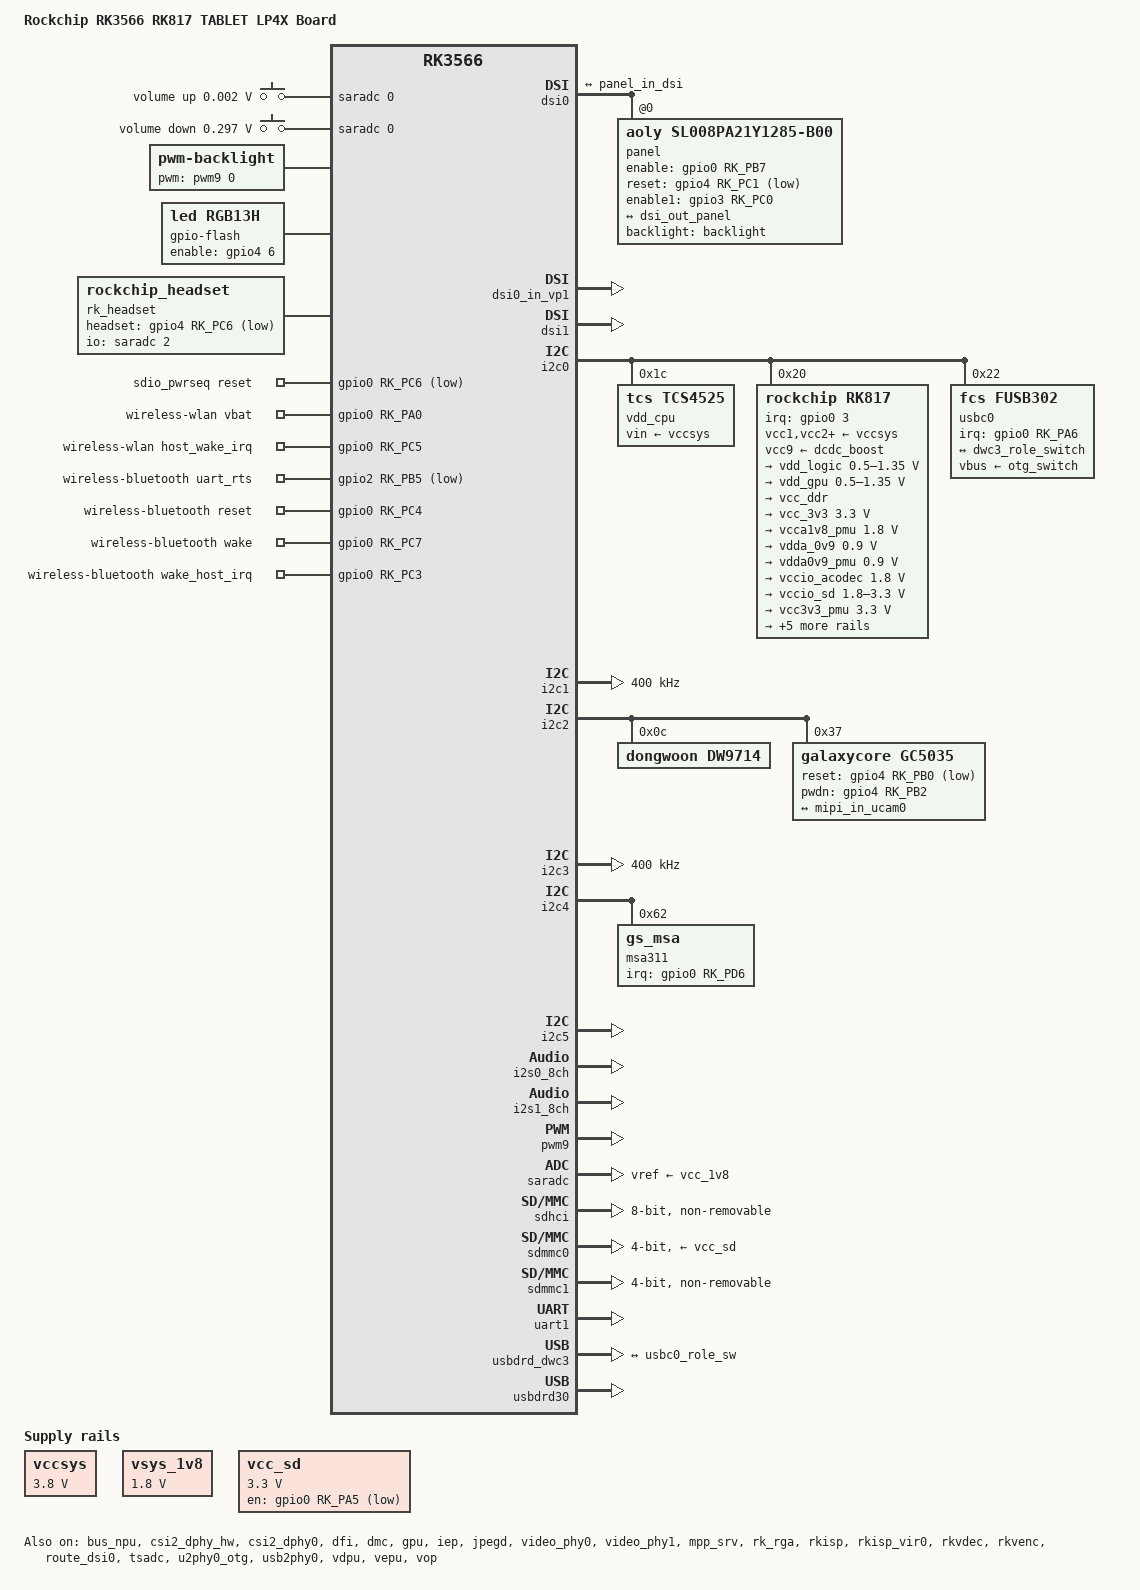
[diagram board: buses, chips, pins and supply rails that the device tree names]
// SPDX-License-Identifier: (GPL-2.0+ OR MIT)
/*
 * Copyright (c) 2020 Rockchip Electronics Co., Ltd.
 *
 */

/dts-v1/;

#include <dt-bindings/gpio/gpio.h>
#include <dt-bindings/pinctrl/rockchip.h>
#include <dt-bindings/input/rk-input.h>
#include <dt-bindings/sensor-dev.h>
#include <dt-bindings/display/drm_mipi_dsi.h>
#include <dt-bindings/usb/pd.h>
#include "rk3566.dtsi"
#include "rk3568-android.dtsi"

/ {
	model = "Rockchip RK3566 RK817 TABLET LP4X Board";
	compatible = "rockchip,rk3566-rk817-tablet", "rockchip,rk3566";

	adc_keys: adc-keys {
		compatible = "adc-keys";
		io-channels = <&saradc 0>;
		io-channel-names = "buttons";
		keyup-threshold-microvolt = <1800000>;
		poll-interval = <100>;

		vol-up-key {
			label = "volume up";
			linux,code = <KEY_VOLUMEUP>;
			press-threshold-microvolt = <1750>;
		};

		vol-down-key {
			label = "volume down";
			linux,code = <KEY_VOLUMEDOWN>;
			press-threshold-microvolt = <297500>;
		};
	};

	backlight: backlight {
	    status = "okay"; 
		compatible = "pwm-backlight";
		pwms = <&pwm9 0 25000 0>;
		brightness-levels = <
			  0  20  20  21  21  22  22  23
			 23  24  24  25  25  26  26  27
			 27  28  28  29  29  30  30  31
			 31  32  32  33  33  34  34  35
			 35  36  36  37  37  38  38  39
			 40  41  42  43  44  45  46  47
			 48  49  50  50  51  52  53  54
			 55  55  56  57  58  59  60  61
			 62  63  64  64  65  65  66  67
			 68  69  70  71  71  72  73  74
			 75  76  77  78  79  79  80  81
			 82  83  84  85  86  86  87  88
			 89  90  91  92  93  94  94  95
			 96  97  98  99 100 101 101 102
			103 104 105 106 107 107 108 109
			110 111 112 113 114 115 115 116
			117 118 119 120 121 122 123 123
			124 125 126 127 128 129 130 130
			131 132 133 134 135 136 136 137
			138 139 140 141 142 143 143 144
			145 146 147 147 148 149 150 151
			152 153 154 155 156 156 157 158
			159 157 158 159 160 161 162 162
			163 164 165 166 167 168 169 169
			170 171 172 173 174 175 175 176
			177 178 179 180 181 182 182 183
			184 185 186 187 188 189 190 190
			191 192 193 194 195 196 197 197
			198 199 200 201 202 203 204 204
			205 206 207 208 209 209 210 211
			212 213 213 214 214 215 215 216
			216 217 217 218 218 219 219 220
		>;
		default-brightness-level = <200>;
	};
	charge-animation {
		compatible = "rockchip,uboot-charge";
		rockchip,uboot-charge-on = <0>;
		rockchip,android-charge-on = <1>;
		rockchip,uboot-exit-charge-auto = <1>;
		rockchip,uboot-low-power-voltage = <3430>;
		rockchip,uboot-exit-charge-level = <2>;
		status = "okay";
		};

	flash_rgb13h: flash-rgb13h {
		status = "okay";
		compatible = "led,rgb13h";
		label = "gpio-flash";
		pinctrl-names = "default";
		pinctrl-0 = <&flash_led_gpios>;
		led-max-microamp = <20000>;
		flash-max-microamp = <20000>;
		flash-max-timeout-us = <1000000>;
		enable-gpio = <&gpio4 6 GPIO_ACTIVE_HIGH>;
		rockchip,camera-module-index = <0>;
		rockchip,camera-module-facing = "back";
	};

	hdmi_sound: hdmi-sound {
		compatible = "simple-audio-card";
		simple-audio-card,format = "i2s";
		simple-audio-card,mclk-fs = <128>;
		simple-audio-card,name = "rockchip,hdmi";
		status = "disabled";

		simple-audio-card,cpu {
				sound-dai = <&i2s0_8ch>;
		};
		simple-audio-card,codec {
				sound-dai = <&hdmi>;
		};
	};

	vccsys: vccsys {
		compatible = "regulator-fixed";
		regulator-name = "vcc3v8_sys";
		regulator-always-on;
		regulator-boot-on;
		regulator-min-microvolt = <3800000>;
		regulator-max-microvolt = <3800000>;
	};
	
	vsys_1v8: vsys_1v8 {
		compatible = "regulator-fixed";
		regulator-name = "vcc3v8_sys";
		regulator-always-on;
		regulator-boot-on;
		regulator-min-microvolt = <1800000>;
		regulator-max-microvolt = <1800000>;
	};

	// vcc_camera: vcc-camera-regulator {
	// 	compatible = "regulator-fixed";
	// 	gpio = <&gpio4 RK_PB1 GPIO_ACTIVE_HIGH>;
	// 	pinctrl-names = "default";
	// 	pinctrl-0 = <&camera_rst>;
	// 	regulator-name = "vcc_camera";
	// 	enable-active-high;
	// 	regulator-always-on;
	// 	regulator-boot-on;
	// 	status = "disabled";
	// };

	rk817-sound {
		compatible = "simple-audio-card";
		simple-audio-card,format = "i2s";
		simple-audio-card,name = "rockchip,rk817-codec";
		simple-audio-card,mclk-fs = <256>;

		simple-audio-card,cpu {
			sound-dai = <&i2s1_8ch>;
		};
		simple-audio-card,codec {
			sound-dai = <&rk817_codec>;
		};
	};

	rk_headset: rk-headset {
		compatible = "rockchip_headset";
		headset_gpio = <&gpio4 RK_PC6 GPIO_ACTIVE_LOW>;
		pinctrl-names = "default";
		pinctrl-0 = <&hp_det>;
		io-channels = <&saradc 2>;
		status = "okay";
	};

	sdio_pwrseq: sdio-pwrseq {
		compatible = "mmc-pwrseq-simple";
		clocks = <&rk817 1>;
		clock-names = "ext_clock";
		pinctrl-names = "default";
		pinctrl-0 = <&wifi_enable_h>;

		/*
		 * On the module itself this is one of these (depending
		 * on the actual card populated):
		 * - SDIO_RESET_L_WL_REG_ON
		 * - PDN (power down when low)
		 */
		post-power-on-delay-ms = <200>;
		reset-gpios = <&gpio0 RK_PC6 GPIO_ACTIVE_LOW>;
	};

	vcc_sd: vcc-sd {
		compatible = "regulator-gpio";
		enable-active-low;
		enable-gpio = <&gpio0 RK_PA5 GPIO_ACTIVE_LOW>;
		regulator-min-microvolt = <3300000>;
		regulator-max-microvolt = <3300000>;
		pinctrl-names = "default";
		pinctrl-0 = <&vcc_sd_h>;
		regulator-name = "vcc_sd";
		states = <3300000 0x0
			3300000 0x1>;
	};

	wireless-wlan {
		compatible = "wlan-platdata";
		rockchip,grf = <&grf>;
		wifi_chip_type = "ap6256";
		pinctrl-names = "default";
		pinctrl-0 = <&wifi_host_wake_irq>;

		WIFI,vbat_gpio = <&gpio0 RK_PA0 GPIO_ACTIVE_HIGH>;
		WIFI,host_wake_irq = <&gpio0 RK_PC5 GPIO_ACTIVE_HIGH>;
		// WIFI,poweren_gpio = <&gpio0 RK_PC6 GPIO_ACTIVE_HIGH>;
		//sdio_vref = <1800>;
		status = "okay";
	};

	wireless-bluetooth {
		compatible = "bluetooth-platdata";
		clocks = <&rk817 1>;
		clock-names = "ext_clock";
		wifi-bt-power-toggle;
		uart_rts_gpios = <&gpio2 RK_PB5 GPIO_ACTIVE_LOW>;
		pinctrl-names = "default", "rts_gpio";
		pinctrl-0 = <&uart1m0_rtsn>;
		pinctrl-1 = <&uart1_gpios>;
		BT,reset_gpio    = <&gpio0 RK_PC4 GPIO_ACTIVE_HIGH>;
		BT,wake_gpio     = <&gpio0 RK_PC7 GPIO_ACTIVE_HIGH>;
		BT,wake_host_irq = <&gpio0 RK_PC3 GPIO_ACTIVE_HIGH>;
		status = "okay";
	};
};

&bus_npu {
	bus-supply = <&vdd_logic>;
	pvtm-supply = <&vdd_cpu>;
	status = "okay";
};

&cpu0 {
	cpu-supply = <&vdd_cpu>;
};

&csi2_dphy_hw {
	status = "okay";
};

&csi2_dphy0 {
	status = "okay";

	ports {
		#address-cells = <1>;
		#size-cells = <0>;
		port@0 {
			reg = <0>;
			#address-cells = <1>;
			#size-cells = <0>;

			mipi_in_ucam0: endpoint@0 {
				reg = <0>;
				remote-endpoint = <&gc5035_out>;
				data-lanes = <1 2>;
			};


			// mipi_in_ucam1: endpoint@1 {
			// 	reg = <1>;
			// 	remote-endpoint = <&ov8858_out>;
			// 	data-lanes = <1 2 3 4>;
			// };
		};
		port@1 {
			reg = <1>;
			#address-cells = <1>;
			#size-cells = <0>;

			csidphy0_out: endpoint@0 {
				reg = <0>;
				remote-endpoint = <&isp0_in>;
			};
		};
	};
};

&dfi {
	status = "okay";
};

&dmc {
	center-supply = <&vdd_logic>;
	status = "okay";
};

&dsi0 {
		status = "okay";
		rockchip,dual-channel = <&dsi1>;
		// rockchip,lane-rate = <1100>;
	panel@0 {
		compatible = "aoly,sl008pa21y1285-b00", "simple-panel-dsi";
		reg = <0>;

		backlight = <&backlight>;
		
		enable-gpios = <&gpio0 RK_PB7 GPIO_ACTIVE_HIGH>;
		reset-gpios = <&gpio4 RK_PC1 GPIO_ACTIVE_LOW>;
		enable1-gpios = <&gpio3 RK_PC0 GPIO_ACTIVE_HIGH>;

		pinctrl-names = "default";
		pinctrl-0 = <&lcd_enable_gpio>, <&lcd_rst_gpio>,<&lcd_enable1_gpio>;


		prepare-delay-ms = <120>;
		reset-delay-ms = <120>;
		init-delay-ms = <120>;
		stbyb-delay-ms = <120>;
		enable-delay-ms = <120>;
		disable-delay-ms = <120>;
		unprepare-delay-ms = <120>;



		dsi,flags = <(MIPI_DSI_MODE_VIDEO | MIPI_DSI_MODE_VIDEO_BURST |
			      MIPI_DSI_MODE_LPM | MIPI_DSI_MODE_EOT_PACKET)>;
		dsi,format = <MIPI_DSI_FMT_RGB888>;
		dsi,lanes = <8>;
		

		panel-init-sequence = [
			39 00 04 B9 83 10 2E
			39 00 02 E9 CD
			39 00 02 BB 01
			39 00 02 E9 00
			39 00 05 D1 67 0C FF 05
			39 00 12 B1 10 FA AF AF 1D 1D B1 6B 31 36 36 36 36 22 21 15 00
			39 00 11 B2 00 00 68 00 00 1A 14 2D 00 00 00 00 15 20 D7 00
			39 00 11 B4 6A 70 6A 70 6A 70 6A 70 01 A8 01 58 00 FF 00 FF
			39 00 03 D2 1D 1D
			39 00 04 B6 38 38 E3
			39 00 08 BF FC 85 80 9C 36 00 04
			39 00 2C D3 00 00 00 00 3C E8 00 00 00 37 37 33 0F 1A 1A 04 00 32 10 18 00 18 32 18 1C 08 1C 32 10 08 00 00 00 00 2B 50 B6 C8 2C 4F B6 C8 0F
			39 00 02 BD 01
			39 00 0B CB 80 36 12 16 C0 28 54 84 02 34
			39 00 0C D3 01 00 FC 00 00 11 10 00 0A 00 01
			39 00 02 BD 02
			39 00 07 B4 4E 00 33 11 33 88
			39 00 04 BF F2 00 02
			39 00 02 BD 00
			39 00 0F C0 33 33 22 11 A2 17 00 80 00 00 08 00 63 63
			39 00 2D D5 18 18 18 18 18 18 18 18 18 18 19 19 18 18 1A 1A 1B 1B 00 01 02 03 04 05 06 07 20 21 24 25 18 18 18 18 18 18 18 18 18 18 18 18 18 18
			39 00 2D D6 18 18 18 18 18 18 18 18 18 18 18 18 19 19 1A 1A 1B 1B 07 06 05 04 03 02 01 00 25 24 21 20 18 18 18 18 18 18 18 18 18 18 18 18 18 18
			39 00 04 D0 07 04 05
			39 19 2F E0 00 08 26 1E 26 45 5F 65 6A 64 79 7A 7B 7B 85 81 86 90 85 35 3A 41 73 00 08 26 1E 26 45 5F 65 6A 64 79 7A 7B 7B 85 81 86 90 85 35 3A 41 73
			39 00 18 E7 12 13 02 02 55 00 0E 0E 00 26 29 72 1C 72 01 27 00 00 00 00 17 00 68
			39 00 02 BD 01
			39 00 08 E7 00 30 01 94 0D B5 0E
			39 00 02 BD 02
			39 00 1D E7 FF 01 FD 01 00 00 22 00 00 00 00 00 00 00 00 00 00 00 00 00 00 00 00 00 81 00 02 40
			39 00 02 BD 00
			39 00 0D D8 AA BB AA AA AA A0 AA BB AA AA AA A0
			39 00 02 BD 02
			39 00 0D D8 FF FC 3F FF FF F0 FF FC 3F FF FF F0
			39 00 02 BD 00
			39 00 02 CC 00 
			39 00 09 BA 70 03 A8 83 F2 80 C0 0D
			39 19 02 BD 03
			39 19 0E B2 00 0A 21 43 65 87 DD DC FE FF 7F 00 7F
			39 19 02 BD 00
			39 19 09 C8 00 04 04 00 00 02 13 FF
			39 19 02 BD 00
			39 19 06 CB 00 13 08 02 25
			39 19 02 BD 02
			39 19 06 CB 00 03 00 01 7E
			39 19 02 BD 00
			39 19 02 BD 00
			39 19 08 C7 30 B0 C2 08 10 42 04
			39 19 03 E1 00 03
			39 FF 02 E9 CE
			39 FF 02 BB 80
			39 FF 02 E9 00
			39 19 04 B9 00 00 00
			05 FF 01 11
			05 78 01 29
		];


		panel-exit-sequence = [
			05 dc 01 28
			05 78 01 10
		];

		display-timings {
			native-mode = <&timing0>;

			timing0: timing0 {
				clock-frequency = <200000000>;//204234240
				hactive = <1536>;             
				vactive = <2048>;

				hsync-len = <16>;//8x2
				hback-porch = <32>;//16x2
				hfront-porch = <40>;//20x2

				vsync-len = <8>;
				vback-porch = <20>;
				vfront-porch = <20>;

				hsync-active = <0>;
				vsync-active = <0>;
				de-active = <0>;
				pixelclk-active = <0>;
			};
		};

		ports {
			#address-cells = <1>;
			#size-cells = <0>;

			port@0 {
				reg = <0>;
				panel_in_dsi: endpoint {
					remote-endpoint = <&dsi_out_panel>;
				};
			};
		};
	};

	ports {
		#address-cells = <1>;
		#size-cells = <0>;

		port@1 {
			reg = <1>;
			dsi_out_panel: endpoint {
				remote-endpoint = <&panel_in_dsi>;
			};
		};
	};

};

&dsi0_in_vp0 {
	status = "disabled";
};

&dsi0_in_vp1 {
	status = "okay";
};


&route_dsi1 {
	status = "disabled";
};



&dsi1 {
	status = "okay";
};

&dsi1_in_vp0 {
	status = "disabled";
};

&dsi1_in_vp1 {
	status = "disabled";
};

&gpu {
	mali-supply = <&vdd_gpu>;
	status = "okay";
};

&hdmi {
	status = "disabled";
};

&hdmi_in_vp0 {
	status = "disabled";
};

&hdmi_in_vp1 {
	status = "disabled";
};

&hdmi_sound {
	status = "disabled";
};

&i2c0 {
	status = "okay";

	vdd_cpu: tcs4525@1c {
		compatible = "tcs,tcs4525";
		reg = <0x1c>;
		vin-supply = <&vccsys>;
		regulator-compatible = "fan53555-reg";
		regulator-name = "vdd_cpu";
		regulator-min-microvolt = <712500>;
		regulator-max-microvolt = <1390000>;
		regulator-init-microvolt = <900000>;
		regulator-ramp-delay = <2300>;
		fcs,suspend-voltage-selector = <1>;
		regulator-boot-on;
		regulator-always-on;
		regulator-state-mem {
			regulator-off-in-suspend;
		};
	};

	rk817: pmic@20 {
		compatible = "rockchip,rk817";
		reg = <0x20>;
		interrupt-parent = <&gpio0>;
		interrupts = <3 IRQ_TYPE_LEVEL_LOW>;
		pinctrl-names = "default";/*, "pmic-sleep",
				"pmic-power-off", "pmic-reset";*/
		pinctrl-0 = <&pmic_int>;
		pinctrl-1 = <&soc_slppin_slp>, <&rk817_slppin_slp>;
		pinctrl-2 = <&soc_slppin_gpio>, <&rk817_slppin_pwrdn>;
		pinctrl-3 = <&soc_slppin_gpio>, <&rk817_slppin_rst>;
		rockchip,system-power-controller;
		wakeup-source;
		#clock-cells = <1>;
		clock-output-names = "rk808-clkout1", "rk808-clkout2";
		//fb-inner-reg-idxs = <2>;
		/* 1: rst regs (default in codes), 0: rst the pmic */
		pmic-reset-func = <1>;
		/* not save the PMIC_POWER_EN register in uboot */
		not-save-power-en = <1>;
		vcc1-supply = <&vccsys>;
		vcc2-supply = <&vccsys>;
		vcc3-supply = <&vccsys>;
		vcc4-supply = <&vccsys>;
		vcc5-supply = <&vccsys>;
		vcc6-supply = <&vccsys>;
		vcc7-supply = <&vccsys>;
		vcc8-supply = <&vccsys>;
		vcc9-supply = <&dcdc_boost>;

		pwrkey {
			status = "okay";
		};

		pinctrl_rk8xx: pinctrl_rk8xx {
			gpio-controller;
			#gpio-cells = <2>;

			rk817_slppin_null: rk817_slppin_null {
				pins = "gpio_slp";
				function = "pin_fun0";
			};

			rk817_slppin_slp: rk817_slppin_slp {
				pins = "gpio_slp";
				function = "pin_fun1";
			};

			rk817_slppin_pwrdn: rk817_slppin_pwrdn {
				pins = "gpio_slp";
				function = "pin_fun2";
			};

			rk817_slppin_rst: rk817_slppin_rst {
				pins = "gpio_slp";
				function = "pin_fun3";
			};
		};

		regulators {
			vdd_logic: DCDC_REG1 {
				regulator-always-on;
				regulator-boot-on;
				regulator-min-microvolt = <500000>;
				regulator-max-microvolt = <1350000>;
				regulator-init-microvolt = <900000>;
				regulator-ramp-delay = <6001>;
				regulator-initial-mode = <0x2>;
				regulator-name = "vdd_logic";
				regulator-state-mem {
					regulator-off-in-suspend;
					regulator-suspend-microvolt = <900000>;
				};
			};

			vdd_gpu: DCDC_REG2 {
				regulator-always-on;
				regulator-boot-on;
				regulator-min-microvolt = <500000>;
				regulator-max-microvolt = <1350000>;
				regulator-init-microvolt = <900000>;
				regulator-ramp-delay = <6001>;
				regulator-initial-mode = <0x2>;
				regulator-name = "vdd_gpu";
				regulator-state-mem {
					regulator-off-in-suspend;
				};
			};

			vcc_ddr: DCDC_REG3 {
				regulator-always-on;
				regulator-boot-on;
				regulator-initial-mode = <0x2>;
				regulator-name = "vcc_ddr";
				regulator-state-mem {
					regulator-on-in-suspend;
				};
			};

			vcc_3v3: DCDC_REG4 {
				regulator-always-on;
				regulator-boot-on;
				regulator-min-microvolt = <3300000>;
				regulator-max-microvolt = <3300000>;
				regulator-initial-mode = <0x2>;
				regulator-name = "vcc_3v3";
				regulator-state-mem {
					regulator-on-in-suspend;
					regulator-suspend-microvolt = <3300000>;
				};
			};

			vcca1v8_pmu: LDO_REG1 {
				regulator-always-on;
				regulator-boot-on;
				regulator-min-microvolt = <1800000>;
				regulator-max-microvolt = <1800000>;
				regulator-name = "vcca1v8_pmu";
				regulator-state-mem {
					regulator-on-in-suspend;
					regulator-suspend-microvolt = <1800000>;
				};
			};

			vdda_0v9: LDO_REG2 {
				regulator-always-on;
				regulator-boot-on;
				regulator-min-microvolt = <900000>;
				regulator-max-microvolt = <900000>;
				regulator-name = "vdda_0v9";
				regulator-state-mem {
					regulator-off-in-suspend;
				};
			};

			vdda0v9_pmu: LDO_REG3 {
				regulator-always-on;
				regulator-boot-on;
				regulator-min-microvolt = <900000>;
				regulator-max-microvolt = <900000>;
				regulator-name = "vdda0v9_pmu";
				regulator-state-mem {
					regulator-on-in-suspend;
					regulator-suspend-microvolt = <900000>;
				};
			};

			vccio_acodec: LDO_REG4 {
				regulator-always-on;
				regulator-boot-on;
				regulator-min-microvolt = <1800000>;
				regulator-max-microvolt = <1800000>;
				regulator-name = "vccio_acodec";
				regulator-state-mem {
					regulator-off-in-suspend;
				};
			};

			vccio_sd: LDO_REG5 {
				regulator-always-on;
				regulator-boot-on;
				regulator-min-microvolt = <1800000>;
				regulator-max-microvolt = <3300000>;
				regulator-name = "vccio_sd";
				regulator-state-mem {
					regulator-off-in-suspend;
				};
			};

			vcc3v3_pmu: LDO_REG6 {
				regulator-always-on;
				regulator-boot-on;
				regulator-min-microvolt = <3300000>;
				regulator-max-microvolt = <3300000>;
				regulator-name = "vcc3v3_pmu";
				regulator-state-mem {
					regulator-on-in-suspend;
					regulator-suspend-microvolt = <3000000>;
				};
			};

			vcc_1v8: LDO_REG7 {
				regulator-always-on;
				regulator-boot-on;
				regulator-min-microvolt = <1800000>;
				regulator-max-microvolt = <1800000>;
				regulator-name = "vcc_1v8";
				regulator-state-mem {
					regulator-off-in-suspend;
				};
			};

			vcc1v8_dvp: LDO_REG8 {
				regulator-always-on;
				regulator-boot-on;
				regulator-min-microvolt = <1800000>;
				regulator-max-microvolt = <1800000>;
				regulator-name = "vcc1v8_dvp";
				regulator-state-mem {
					regulator-off-in-suspend;
				};
			};

			vcc2v8_dvp: LDO_REG9 {
				regulator-always-on;
				regulator-boot-on;
				regulator-min-microvolt = <2800000>;
				regulator-max-microvolt = <2800000>;
				regulator-name = "vcc2v8_dvp";
				regulator-state-mem {
					regulator-off-in-suspend;
				};
			};

			dcdc_boost: BOOST {
				regulator-always-on;
				regulator-boot-on;
				regulator-min-microvolt = <5000000>;
				regulator-max-microvolt = <5000000>;
				regulator-name = "boost";
				regulator-state-mem {
					regulator-off-in-suspend;
				};
			};

			otg_switch: OTG_SWITCH {
				regulator-name = "otg_switch";
				regulator-state-mem {
					regulator-off-in-suspend;
				};
			};
		};

		battery {
                        compatible = "rk817,battery";
                        ocv_table = <3400 3658 3677 3702 3729 3748 3763
                                     3777 3792 3810 3834 3869 3914 3955
                                     3988 4052 4093 4145 4199 4257 4327>;
                        design_capacity = <2200>;
                        design_qmax = <2420>;
                        bat_res = <118>;
                        sleep_enter_current = <300>;
                        sleep_exit_current = <300>;
                        sleep_filter_current = <100>;
                        power_off_thresd = <3400>;
                        zero_algorithm_vol = <3950>;
                        max_soc_offset = <60>;
                        monitor_sec = <5>;
                        sample_res = <10>;
                        virtual_power = <0>;
						ntc_table = <68236 64990 61919 59011 56257 53649 51177 48834 46613 44505 42506 40599 38790 37072 35441 33892 32419 31020 29689 
									 28423 27218 26076 24987 23950 22962 22021 21123 20266 19449 18669 17925 17213 16534 15885 15265 14673 14107 13566 
									 13048 12554 12080 11628 11194 10779 10381 10000  9634  9283  8947 8624  8314  8018  7733  7460  7199  6947  6706 
									  6475  6252  6039  5833  5635  5445  5262  5086  4916  4753  4597  4446  4300  4160  4026  3896  3771  3651  3535 
									  3423  3315  3211  3111  3014	2922 2833	2748  2665  2586  2509  2435  2363  2294  2227
									 >;
						ntc_degree_from = <1 20>;
						temperature_chrg_table_v2 = <(-20) 10 850 4300>, <22 33 1000 4300>, <43 70 0 0>; 
                };


		charger {
			compatible = "rk817,charger";
			min_input_voltage = <4500>;
			max_input_current = <1500>;
			max_chrg_current = <2000>;
			max_chrg_voltage = <4400>;
			chrg_term_mode = <0>;
			chrg_finish_cur = <300>;
			virtual_power = <0>;
			dc_det_adc = <0>;
			extcon = <&usb2phy0>;
			gate_function_disable = <1>;
		};

		rk817_codec: codec {
			#sound-dai-cells = <0>;
			compatible = "rockchip,rk817-codec";
			clocks = <&cru I2S1_MCLKOUT>;
			clock-names = "mclk";
			assigned-clocks = <&cru I2S1_MCLKOUT>, <&cru I2S1_MCLK_TX_IOE>;
			assigned-clock-rates = <12288000>;
			assigned-clock-parents = <&cru I2S1_MCLKOUT_TX>, <&cru I2S1_MCLKOUT_TX>;
			pinctrl-names = "default";
			pinctrl-0 = <&i2s1m0_mclk>;
			hp-volume = <20>;
			spk-volume = <10>;
			mic-in-differential;
			out-l2spk-r2hp;
			//spk-ctl-gpios = <&gpio3 RK_PC2 GPIO_ACTIVE_HIGH>;
			status = "okay";
		};
	};
	
	usbc0: fusb302@22 {
        compatible = "fcs,fusb302";
        reg = <0x22>;
        interrupt-parent = <&gpio0>; 
        interrupts = <RK_PA6 IRQ_TYPE_LEVEL_LOW>;
        pinctrl-names = "default";
        pinctrl-0 = <&fusb0_int>;
        vbus-supply = <&otg_switch>;
        status = "okay";
        ports {
            #address-cells = <1>;
            #size-cells = <0>;
            port@0 {
                reg = <0>;
                usbc0_role_sw: endpoint@0 {
                    remote-endpoint = <&dwc3_role_switch>;
                };
            };
        };

		usb_con: connector { /* 用于描述 PD 协议相关信息 */
			compatible = "usb-c-connector";
			label = "USB-C";
			data-role = "dual";
			power-role = "dual";
			try-power-role = "sink";
			op-sink-microwatt = <1000000>;
			sink-pdos =
				<PDO_FIXED(5000, 2500, PDO_FIXED_USB_COMM)>;
			source-pdos =
				<PDO_FIXED(5000, 1500, PDO_FIXED_USB_COMM)>;

		};
    };

};

&i2c1 {
		status = "okay";

		clock-frequency = <400000>;
		// 1020 new
	    elan@10 {
			compatible = "elan,ekth3500";
			status = "disabled";
			reg = <0x10>;
			//interrupt-parent = <&tlmm>;
			//interrupts = <125 0x2008>;
			pinctrl-names = "default";
			pinctrl-0 = <&tp_gpio>;
			elan,irq-gpio = <&gpio0 RK_PC1 IRQ_TYPE_LEVEL_LOW>;
			elan,reset-gpio = <&gpio0 RK_PC2 GPIO_ACTIVE_LOW>; //0x00: ACTIVE_HIGH 0x01: ACTIVE_LOW
		};

};

&i2c2 {
	status = "okay";
	pinctrl-names = "default";
	pinctrl-0 = <&i2c2m1_xfer>;


		dw9714: dw9714@c {
		compatible = "dongwoon,dw9714";
		status = "okay";
		reg = <0x0c>;
		rockchip,camera-module-index = <0>;
		rockchip,vcm-start-current = <10>;
		rockchip,vcm-rated-current = <85>;
		rockchip,vcm-step-mode = <5>;
		rockchip,camera-module-facing = "back";
	};

		gc5035: gc5035@37 {
		compatible = "galaxycore,gc5035";
		status = "okay";
		reg = <0x37>;
		clocks = <&cru CLK_CIF_OUT>;
		clock-names = "xvclk";
		power-domains = <&power RK3568_PD_VI>;
		pinctrl-names = "default";
		pinctrl-0 = <&cif_clk>;
		//reset pin control by hardware,used this pin switch to mipi input
		//0->FRONT camera, 1->REAR camera
		reset-gpios = <&gpio4 RK_PB0 GPIO_ACTIVE_LOW>;
		pwdn-gpios = <&gpio4 RK_PB2 GPIO_ACTIVE_HIGH>;
		rockchip,camera-module-index = <0>;
		rockchip,camera-module-facing = "front";
		rockchip,camera-module-name = "XHG-RKX11F-V5";
		rockchip,camera-module-lens-name = "HR232H65";
		port {
			gc5035_out: endpoint {
				remote-endpoint = <&mipi_in_ucam0>;
				data-lanes = <1 2>;
			};
		};
	};

	// ov8858: ov8858@36 {
	// 	status = "disabled";
	// 	compatible = "ovti,ov8858";
	// 	reg = <0x36>;
	// 	clocks = <&cru CLK_CAM0_OUT>;
	// 	clock-names = "xvclk";
	// 	power-domains = <&power RK3568_PD_VI>;
	// 	pinctrl-names = "rockchip,camera_default", "rockchip,camera_sleep";
	// 	pinctrl-0 = <&cam_clkout0>;
	// 	pinctrl-1 = <&cam_sleep>;
	// 	//reset pin control by hardware,used this pin switch to mipi input
	// 	//1->2LANE(LANE 0&1) FRONT camera, 0->4LANE REAR camera
	// 	reset-gpios = <&gpio4 RK_PB1 GPIO_ACTIVE_HIGH>;
	// 	pwdn-gpios = <&gpio4 RK_PB3 GPIO_ACTIVE_HIGH>;
	// 	rockchip,camera-module-index = <1>;
	// 	rockchip,camera-module-facing = "back";
	// 	rockchip,camera-module-name = "HS5885-BNSM1018-V01";
	// 	rockchip,camera-module-lens-name = "default";
	// 	// flash-leds = <&flash_rgb13h>;
	// 	lens-focus = <&dw9714>;
	// 	port {
	// 		ov8858_out: endpoint {
	// 			remote-endpoint = <&mipi_in_ucam1>;
	// 			data-lanes = <1 2 3 4>;
	// 		};
	// 	};
	// };

};


&i2c3 {
	status = "okay";
	pinctrl-names = "default";
	pinctrl-0 = <&i2c3m1_xfer>;
	clock-frequency = <400000>;
	i2c-scl-rising-time-ns = <138>;
	i2c-scl-falling-time-ns = <4>;
};
//
&i2c4 {
	status = "okay";
	pinctrl-names = "default";
	pinctrl-0 = <&i2c4m1_xfer>;
	msa311@62 {
        status = "okay";
        compatible = "gs_msa";
        reg = <0x62>;
        irq-gpio = <&gpio0 RK_PD6 IRQ_TYPE_EDGE_RISING>;
		layout = <1>; //1020 old: 7 1020 new:4
        irq_enable = <0>;
        type = <2>;
        poll_delay_ms = <30>;
    };

};

&i2c5 {
	status = "okay";
	pinctrl-names = "default";
	pinctrl-0 = <&i2c5m1_xfer>;




};

&i2s0_8ch {
	status = "okay";
};

&i2s1_8ch {
	status = "okay";
	rockchip,clk-trcm = <1>;
	pinctrl-names = "default";
	pinctrl-0 = <&i2s1m0_sclktx
		     &i2s1m0_lrcktx
		     &i2s1m0_sdi0
		     &i2s1m0_sdo0>;
};

&iep {
	status = "okay";
};

&iep_mmu {
	status = "okay";
};

&jpegd {
	status = "okay";
};

&jpegd_mmu {
	status = "okay";
};

&video_phy0 {
	status = "okay";
};

&video_phy1 {
	status = "okay";
};

&mpp_srv {
	status = "okay";
};

&nandc0 {
	status = "disabled";
};

&pinctrl {
	cam {
		cam_clkout0: cam-clkout0 {
			rockchip,pins =
				/* cam_clkout0 */
				<4 RK_PA7 1 &pcfg_pull_none>;
		};

		cam_sleep: cam-sleep {
			rockchip,pins =
				/* cam_sleep */
				<4 RK_PA7 RK_FUNC_GPIO &pcfg_pull_none>;
		};

		// camera_rst: camera-rst {
		// 	rockchip,pins =
		// 		/* front camera reset */
		// 		<4 RK_PB0 RK_FUNC_GPIO &pcfg_pull_none>,
		// 		/* back camra reset */
		// 		<4 RK_PB1 RK_FUNC_GPIO &pcfg_pull_none>;
		// };

		flash_led_gpios: flash-led {
			rockchip,pins =
				/* flash led enable */
				<4 RK_PA6 RK_FUNC_GPIO &pcfg_pull_none>;
		};
	};

	tp {
		tp_gpio: tp-gpio {
			rockchip,pins =
				<0 RK_PC2 RK_FUNC_GPIO &pcfg_pull_up>,
				<0 RK_PC1 RK_FUNC_GPIO &pcfg_pull_up>;
		};
	};

	elan {
		tlmm: tlmm {
			rockchip,pins =
				<0 RK_PC1 RK_FUNC_GPIO &pcfg_pull_up>;
		};
	};

	headphone {
		hp_det: hp-det {
			rockchip,pins = <4 RK_PC6 RK_FUNC_GPIO &pcfg_pull_down>;
		};
	};

	lcd {
		lcd_rst_gpio: lcd-rst-gpio {
			rockchip,pins = <4 RK_PC1 RK_FUNC_GPIO &pcfg_pull_none>;
		};

		lcd_enable_gpio: lcd-enable-gpio {
			rockchip,pins = <0 RK_PB7 RK_FUNC_GPIO &pcfg_pull_none>;
		};

		lcd_enable1_gpio: lcd-enable1-gpio {
			rockchip,pins = <3 RK_PC0 RK_FUNC_GPIO &pcfg_pull_none>;
		};

	};

	pmic {
		pmic_int: pmic_int {
			rockchip,pins =
				<0 RK_PA3 RK_FUNC_GPIO &pcfg_pull_up>;
		};

		soc_slppin_gpio: soc_slppin_gpio {
			rockchip,pins =
				<0 RK_PA2 RK_FUNC_GPIO &pcfg_output_low>;
		};

		soc_slppin_slp: soc_slppin_slp {
			rockchip,pins =
				<0 RK_PA2 1 &pcfg_pull_none>;
		};

		soc_slppin_rst: soc_slppin_rst {
			rockchip,pins =
				<0 RK_PA2 2 &pcfg_pull_none>;
		};
	};

	sensor {
		sensor_gpio: sensor-gpio {
			rockchip,pins = <3 RK_PA2 RK_FUNC_GPIO &pcfg_pull_none>;
		};
	};

	sdio-pwrseq {
		wifi_enable_h: wifi-enable-h {
			rockchip,pins = <0 RK_PC6 RK_FUNC_GPIO &pcfg_pull_none>;
		};
	};

	vcc_sd {
		vcc_sd_h: vcc-sd-h {
			rockchip,pins = <0 RK_PA5 RK_FUNC_GPIO &pcfg_pull_none>;
		};
	};

	wireless-wlan {
		wifi_vbat: wifi-vbat {
			rockchip,pins = <0 RK_PA0 RK_FUNC_GPIO &pcfg_pull_none>;
		};

		wifi_host_wake_irq: wifi-host-wake-irq {
			rockchip,pins = <0 RK_PC5 RK_FUNC_GPIO &pcfg_pull_up>;
		};

		//wifi_poweren_gpio: poweren-gpio {
		//	rockchip,pins = <0 RK_PA7 RK_FUNC_GPIO &pcfg_pull_none>;
		//};
	};

	wireless-bluetooth {
		uart1_gpios: uart1-gpios {
			rockchip,pins = <2 RK_PB5 RK_FUNC_GPIO &pcfg_pull_none>;
		};
	};

	fusb30x { // ���� FUSB302 �������жϺ� vbus gpio pinctrl 
			fusb0_int: fusb0-int {
				rockchip,pins = <0 RK_PA6 RK_FUNC_GPIO &pcfg_pull_up>;
				//<gpiox RK_Pxx RK_FUNC_GPIO &pcfg_pull_up>;
		};
	};

};

&pmu_io_domains {
	status = "okay";
	pmuio1-supply = <&vcc3v3_pmu>;
	pmuio2-supply = <&vcc3v3_pmu>;
	vccio1-supply = <&vccio_acodec>;
	vccio3-supply = <&vccio_sd>;//3.3
	vccio4-supply = <&vcca1v8_pmu>;
	vccio5-supply = <&vcc_3v3>;
	vccio6-supply = <&vcc_3v3>;
	vccio7-supply = <&vsys_1v8>;
};

&pwm9 {
	pinctrl-names = "active";
	pinctrl-0 = <&pwm9m0_pins>;
	status = "okay";
};

&rk_rga {
	status = "okay";
};

&rkisp {
	status = "okay";
};

&rkisp_mmu {
	status = "okay";
};

&rkisp_vir0 {
	status = "okay";

	port {
		#address-cells = <1>;
		#size-cells = <0>;

		isp0_in: endpoint@0 {
			reg = <0>;
			remote-endpoint = <&csidphy0_out>;
		};
	};
};

&rkvdec {
	status = "okay";
};

&rkvdec_mmu {
	status = "okay";
};

&rkvenc {
	status = "okay";
};

&rkvenc_mmu {
	status = "okay";
};

&route_dsi0 {
	status = "okay";
	connect = <&vp1_out_dsi0>;
};

&dsi0 {
	status = "okay";
};

&route_hdmi {
	status = "disabled";
	connect = <&vp0_out_hdmi>;
};

&saradc {
	status = "okay";
	vref-supply = <&vcc_1v8>;
};

&sdhci {
	bus-width = <8>;
	no-sdio;
	no-sd;
	non-removable;
	max-frequency = <200000000>;
	status = "okay";
};

&sdmmc0 {
	max-frequency = <150000000>;
	no-sdio;
	no-mmc;
	bus-width = <4>;
	cap-mmc-highspeed;
	cap-sd-highspeed;
	disable-wp;
	sd-uhs-sdr104;
	vmmc-supply = <&vcc_sd>;
	vqmmc-supply = <&vccio_sd>;
	pinctrl-names = "default";
	pinctrl-0 = <&sdmmc0_bus4 &sdmmc0_clk &sdmmc0_cmd &sdmmc0_det>;
	status = "okay";
};

&sdmmc1 {
	max-frequency = <150000000>;
	no-sd;
	no-mmc;
	bus-width = <4>;
	disable-wp;
	cap-sd-highspeed;
	cap-sdio-irq;
	keep-power-in-suspend;
	mmc-pwrseq = <&sdio_pwrseq>;
	non-removable;
	pinctrl-names = "default";
	pinctrl-0 = <&sdmmc1_bus4 &sdmmc1_cmd &sdmmc1_clk>;
	sd-uhs-sdr104;
	rockchip,default-sample-phase = <90>;
	status = "okay";
};

&tsadc {
	status = "okay";
};

&uart1 {
	status = "okay";
	pinctrl-names = "default";
	pinctrl-0 = <&uart1m0_xfer &uart1m0_ctsn>;
};

&u2phy0_otg {
	status = "okay";
	rockchip,dis-u2-susphy;
};

&usb2phy0 {
	status = "okay";
};

&usbdrd_dwc3 {
	status = "okay";
	//snps,usb2-gadget-lpm-disable;
    //snps,usb2-lpm-disable;
	usb-role-switch; /* ����ʹ�� DWC3 ����ע�� USB Role Switch �ص����� */
    port {
        #address-cells = <1>;
        #size-cells = <0>;
        dwc3_role_switch: endpoint@0 {
            reg = <0>;
            remote-endpoint = <&usbc0_role_sw>; /* ���� FUSB302��ʵ��USB ��ɫ�л��Ĺ��� */
        };
    };
};

&usbdrd30 {
	status = "okay";
};

&vdpu {
	status = "okay";
};

&vdpu_mmu {
	status = "okay";
};

&vepu {
	status = "okay";
};

&vepu_mmu {
	status = "okay";
};

&vop {
	status = "okay";
	assigned-clocks = <&cru DCLK_VOP0>, <&cru DCLK_VOP1>;
	assigned-clock-parents = <&pmucru PLL_HPLL>, <&cru PLL_VPLL>;
};

&vop_mmu {
	status = "okay";
};
